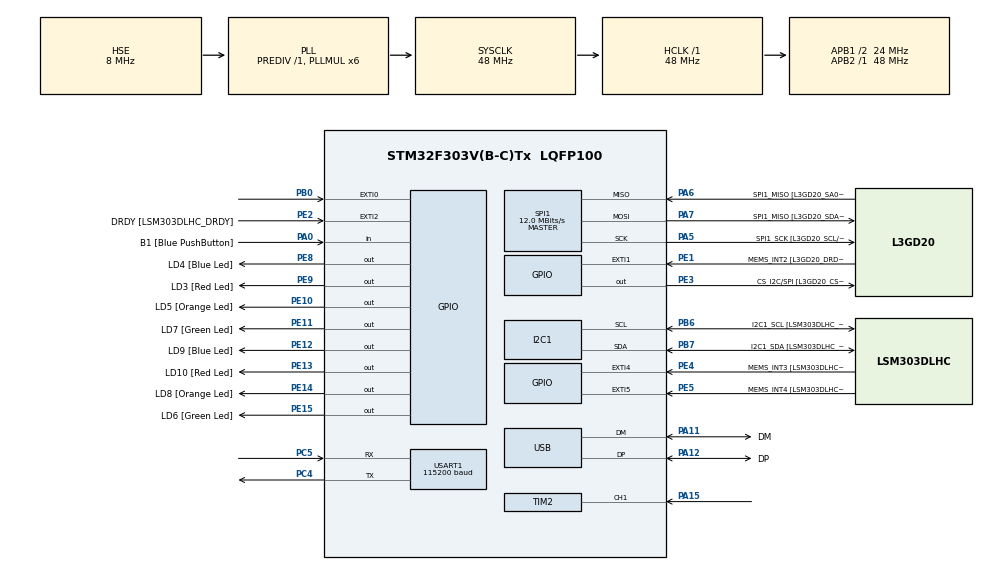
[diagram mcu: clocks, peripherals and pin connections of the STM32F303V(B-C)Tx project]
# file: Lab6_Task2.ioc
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I2C1.Timing=0x2000090E
I2C1.Timing-I2C=0x2000090E
Mcu.Family=STM32F3
Mcu.Name=STM32F303V(B-C)Tx
Mcu.Package=LQFP100
NVIC.PriorityGroup=NVIC_PRIORITYGROUP_0
NVIC.TIM2_IRQn=true\:0\:0\:false\:false\:true\:true\:true\:true
NVIC.USB_LP_CAN_RX0_IRQn=true\:0\:0\:false\:false\:true\:false\:true\:true
PA0.GPIO_Label=B1 [Blue PushButton]
PA0.Signal=GPIO_Input
PA11.GPIO_Label=DM
PA11.Mode=Device
PA11.Signal=USB_DM
PA12.GPIO_Label=DP
PA12.Mode=Device
PA12.Signal=USB_DP
PA13.GPIO_Label=SWDIO
PA13.Mode=Serial_Wire
PA13.Signal=SYS_JTMS-SWDIO
PA14.GPIO_Label=SWCLK
PA14.Mode=Serial_Wire
PA14.Signal=SYS_JTCK-SWCLK
PA15.Signal=S_TIM2_CH1_ETR
PA5.GPIO_Label=SPI1_SCK [L3GD20_SCL/SPC]
PA5.Mode=Full_Duplex_Master
PA5.Signal=SPI1_SCK
PA6.GPIO_Label=SPI1_MISO [L3GD20_SA0/SDO]
PA6.Mode=Full_Duplex_Master
PA6.Signal=SPI1_MISO
PA7.GPIO_Label=SPI1_MISO [L3GD20_SDA/SDI/SDO]
PA7.Mode=Full_Duplex_Master
PA7.Signal=SPI1_MOSI
PB0.Signal=GPXTI0
PB3.GPIO_Label=SWO
PB3.Signal=SYS_JTDO-TRACESWO
PB6.GPIO_Label=I2C1_SCL [LSM303DLHC_SCL]
PB6.GPIO_Pu=GPIO_PULLUP
PB6.Mode=I2C
PB6.Signal=I2C1_SCL
PB7.GPIO_Label=I2C1_SDA [LSM303DLHC_SDA]
PB7.GPIO_Pu=GPIO_PULLUP
PB7.Mode=I2C
PB7.Signal=I2C1_SDA
PC14-OSC32_IN.GPIO_Label=OSC32_IN
PC14-OSC32_IN.Signal=RCC_OSC32_IN
PC15-OSC32_OUT.GPIO_Label=OSC32_OUT
PC15-OSC32_OUT.Signal=RCC_OSC32_OUT
PC4.Mode=Asynchronous
PC4.Signal=USART1_TX
PC5.Mode=Asynchronous
PC5.Signal=USART1_RX
PE1.GPIO_Label=MEMS_INT2 [L3GD20_DRDY/INT2]
PE1.GPIO_ModeDefaultEXTI=GPIO_MODE_EVT_RISING
PE1.Signal=GPXTI1
PE10.GPIO_Label=LD5 [Orange Led]
PE10.Signal=GPIO_Output
PE11.GPIO_Label=LD7 [Green Led]
PE11.Signal=GPIO_Output
PE12.GPIO_Label=LD9 [Blue Led]
PE12.Signal=GPIO_Output
PE13.GPIO_Label=LD10 [Red Led]
PE13.Signal=GPIO_Output
PE14.GPIO_Label=LD8 [Orange Led]
PE14.Signal=GPIO_Output
PE15.GPIO_Label=LD6 [Green Led]
PE15.Signal=GPIO_Output
PE2.GPIO_Label=DRDY [LSM303DLHC_DRDY]
PE2.GPIO_ModeDefaultEXTI=GPIO_MODE_EVT_RISING
PE2.Signal=GPXTI2
PE3.GPIO_Label=CS_I2C/SPI [L3GD20_CS_I2C/SPI]
PE3.Signal=GPIO_Output
PE4.GPIO_Label=MEMS_INT3 [LSM303DLHC_INT1]
PE4.GPIO_ModeDefaultEXTI=GPIO_MODE_EVT_RISING
PE4.Signal=GPXTI4
PE5.GPIO_Label=MEMS_INT4 [LSM303DLHC_INT2]
PE5.GPIO_ModeDefaultEXTI=GPIO_MODE_EVT_RISING
PE5.Signal=GPXTI5
PE8.GPIO_Label=LD4 [Blue Led]
PE8.Signal=GPIO_Output
PE9.GPIO_Label=LD3 [Red Led]
PE9.Signal=GPIO_Output
PF0-OSC_IN.GPIO_Label=OSC_IN
PF0-OSC_IN.Mode=HSE-External-Clock-Source
PF0-OSC_IN.Signal=RCC_OSC_IN
PF1-OSC_OUT.GPIO_Label=OSC_OUT
PF1-OSC_OUT.Signal=RCC_OSC_OUT
ProjectManager.HeapSize=0x200
ProjectManager.StackSize=0x400
ProjectManager.TargetToolchain=CMake
RCC.AHBFreq_Value=48000000
RCC.APB1CLKDivider=RCC_HCLK_DIV2
RCC.APB1Freq_Value=24000000
RCC.APB1TimFreq_Value=48000000
RCC.APB2Freq_Value=48000000
RCC.APB2TimFreq_Value=48000000
RCC.CortexFreq_Value=48000000
RCC.HCLKFreq_Value=48000000
RCC.HSE_VALUE=8000000
RCC.HSI_VALUE=8000000
RCC.LSE_VALUE=32768
RCC.PLLMUL=RCC_PLL_MUL6
RCC.SYSCLKFreq_VALUE=48000000
RCC.SYSCLKSourceVirtual=RCC_SYSCLKSOURCE_PLLCLK
RCC.USBFreq_Value=48000000
SH.S_TIM2_CH1_ETR.0=TIM2_CH1,Input_Capture1_from_TI1
SPI1.BaudRatePrescaler=SPI_BAUDRATEPRESCALER_4
SPI1.BaudRatePrescaler-Full_Duplex_Master=SPI_BAUDRATEPRESCALER_2
SPI1.CalculateBaudRate=12.0 MBits/s
SPI1.CalculateBaudRate-Full_Duplex_Master=24.0 MBits/s
SPI1.Direction=SPI_DIRECTION_2LINES
SPI1.Mode=SPI_MODE_MASTER
SPI1.Mode-Full_Duplex_Master=SPI_MODE_MASTER
SPI1.VirtualType=VM_MASTER
TIM2.Channel-Input_Capture1_from_TI1=TIM_CHANNEL_1
TIM2.Prescaler=71
USART1.BaudRate=115200
USART1.VirtualMode-Asynchronous=VM_ASYNC
USB_DEVICE.CLASS_NAME_FS=CDC
USB_DEVICE.VirtualMode=Cdc
USB_DEVICE.VirtualModeFS=Cdc_FS
VP_TIM2_VS_ClockSourceINT.Mode=Internal
VP_USB_DEVICE_VS_USB_DEVICE_CDC_FS.Mode=CDC_FS
board=STM32F3DISCOVERY

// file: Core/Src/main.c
/* USER CODE BEGIN Header */
/**
  ******************************************************************************
  * @file           : main.c
  * @brief          : Main program body
  ******************************************************************************
  * @attention
  *
  * Copyright (c) 2026 STMicroelectronics.
  * All rights reserved.
  *
  * This software is licensed under terms that can be found in the LICENSE file
  * in the root directory of this software component.
  * If no LICENSE file comes with this software, it is provided AS-IS.
  *
  ******************************************************************************
  */
/* USER CODE END Header */
#include "main.h"
#include "usb_device.h"

I2C_HandleTypeDef hi2c1;

SPI_HandleTypeDef hspi1;

TIM_HandleTypeDef htim2;

UART_HandleTypeDef huart1;

void SystemClock_Config(void);
static void MX_GPIO_Init(void);
static void MX_I2C1_Init(void);
static void MX_SPI1_Init(void);
static void MX_TIM2_Init(void);
static void MX_USART1_UART_Init(void);

/* USER CODE BEGIN 0 */
uint32_t IC_Val1 = 0;
uint32_t IC_Val2 = 0;
uint32_t Difference = 0;
uint8_t Is_First_Captured = 0;

uint32_t Frequency = 0;

void HAL_TIM_IC_CaptureCallback(TIM_HandleTypeDef *htim)
{
   if (htim->Channel == HAL_TIM_ACTIVE_CHANNEL_1)
   {
       if (Is_First_Captured == 0)
       {
           IC_Val1 = HAL_TIM_ReadCapturedValue(htim, TIM_CHANNEL_1);
           Is_First_Captured = 1;
       }
       else
       {
           IC_Val2 = HAL_TIM_ReadCapturedValue(htim, TIM_CHANNEL_1);

           if (IC_Val2 > IC_Val1)
           {
               Difference = IC_Val2 - IC_Val1;
           }
           else if (IC_Val1 > IC_Val2)
           {
             Difference = (0xFFFFFFFF - IC_Val1) + IC_Val2 + 1;
           }

           uint32_t timer_clock = 48000000;

           if (Difference != 0) {
             Frequency = timer_clock / (2 * Difference);
           }

           Is_First_Captured = 0;
       }
   }
}

/* USER CODE END 0 */

int main(void)
{

 /* USER CODE BEGIN 1 */
 char msg[100];
  HAL_TIM_IC_Start_IT(&htim2, TIM_CHANNEL_1);

 /* USER CODE END 1 */

 /* MCU Configuration--------------------------------------------------------*/

 /* Reset of all peripherals, Initializes the Flash interface and the Systick. */
 HAL_Init();

 /* Configure the system clock */
 SystemClock_Config();

 /* Initialize all configured peripherals */
 MX_GPIO_Init();
 MX_I2C1_Init();
 MX_SPI1_Init();
 MX_TIM2_Init();
 MX_USART1_UART_Init();
 MX_USB_DEVICE_Init();
 /* USER CODE BEGIN 2 */
  HAL_TIM_IC_Start_IT(&htim2, TIM_CHANNEL_1);

 /* USER CODE END 2 */

 /* Infinite loop */
 while (1)
 {
   int len = sprintf(msg, "Signal Frequency: %lu Hz\r\n", Frequency);

   // Transmit to the serial terminal
   HAL_UART_Transmit(&huart1, (uint8_t*)msg, len, HAL_MAX_DELAY);

   // Update terminal every 500ms
   HAL_Delay(500);
 }
}

void SystemClock_Config(void)
{
  RCC_OscInitTypeDef RCC_OscInitStruct = {0};
  RCC_ClkInitTypeDef RCC_ClkInitStruct = {0};
  RCC_PeriphCLKInitTypeDef PeriphClkInit = {0};

  /** Initializes the RCC Oscillators according to the specified parameters
  * in the RCC_OscInitTypeDef structure.
  */
  RCC_OscInitStruct.OscillatorType = RCC_OSCILLATORTYPE_HSI|RCC_OSCILLATORTYPE_HSE;
  RCC_OscInitStruct.HSEState = RCC_HSE_BYPASS;
  RCC_OscInitStruct.HSEPredivValue = RCC_HSE_PREDIV_DIV1;
  RCC_OscInitStruct.HSIState = RCC_HSI_ON;
  RCC_OscInitStruct.HSICalibrationValue = RCC_HSICALIBRATION_DEFAULT;
  RCC_OscInitStruct.PLL.PLLState = RCC_PLL_ON;
  RCC_OscInitStruct.PLL.PLLSource = RCC_PLLSOURCE_HSE;
  RCC_OscInitStruct.PLL.PLLMUL = RCC_PLL_MUL6;
  if (HAL_RCC_OscConfig(&RCC_OscInitStruct) != HAL_OK)
  {
    Error_Handler();
  }

  /** Initializes the CPU, AHB and APB buses clocks
  */
  RCC_ClkInitStruct.ClockType = RCC_CLOCKTYPE_HCLK|RCC_CLOCKTYPE_SYSCLK
                              |RCC_CLOCKTYPE_PCLK1|RCC_CLOCKTYPE_PCLK2;
  RCC_ClkInitStruct.SYSCLKSource = RCC_SYSCLKSOURCE_PLLCLK;
  RCC_ClkInitStruct.AHBCLKDivider = RCC_SYSCLK_DIV1;
  RCC_ClkInitStruct.APB1CLKDivider = RCC_HCLK_DIV2;
  RCC_ClkInitStruct.APB2CLKDivider = RCC_HCLK_DIV1;

  if (HAL_RCC_ClockConfig(&RCC_ClkInitStruct, FLASH_LATENCY_1) != HAL_OK)
  {
    Error_Handler();
  }
  PeriphClkInit.PeriphClockSelection = RCC_PERIPHCLK_USB|RCC_PERIPHCLK_USART1
                              |RCC_PERIPHCLK_I2C1;
  PeriphClkInit.Usart1ClockSelection = RCC_USART1CLKSOURCE_PCLK2;
  PeriphClkInit.I2c1ClockSelection = RCC_I2C1CLKSOURCE_HSI;
  PeriphClkInit.USBClockSelection = RCC_USBCLKSOURCE_PLL;
  if (HAL_RCCEx_PeriphCLKConfig(&PeriphClkInit) != HAL_OK)
  {
    Error_Handler();
  }
}

static void MX_I2C1_Init(void)
{

  hi2c1.Instance = I2C1;
  hi2c1.Init.Timing = 0x2000090E;
  hi2c1.Init.OwnAddress1 = 0;
  hi2c1.Init.AddressingMode = I2C_ADDRESSINGMODE_7BIT;
  hi2c1.Init.DualAddressMode = I2C_DUALADDRESS_DISABLE;
  hi2c1.Init.OwnAddress2 = 0;
  hi2c1.Init.OwnAddress2Masks = I2C_OA2_NOMASK;
  hi2c1.Init.GeneralCallMode = I2C_GENERALCALL_DISABLE;
  hi2c1.Init.NoStretchMode = I2C_NOSTRETCH_DISABLE;
  if (HAL_I2C_Init(&hi2c1) != HAL_OK)
  {
    Error_Handler();
  }

  /** Configure Analogue filter
  */
  if (HAL_I2CEx_ConfigAnalogFilter(&hi2c1, I2C_ANALOGFILTER_ENABLE) != HAL_OK)
  {
    Error_Handler();
  }

  /** Configure Digital filter
  */
  if (HAL_I2CEx_ConfigDigitalFilter(&hi2c1, 0) != HAL_OK)
  {
    Error_Handler();
  }

}

static void MX_SPI1_Init(void)
{

  /* SPI1 parameter configuration*/
  hspi1.Instance = SPI1;
  hspi1.Init.Mode = SPI_MODE_MASTER;
  hspi1.Init.Direction = SPI_DIRECTION_2LINES;
  hspi1.Init.DataSize = SPI_DATASIZE_4BIT;
  hspi1.Init.CLKPolarity = SPI_POLARITY_LOW;
  hspi1.Init.CLKPhase = SPI_PHASE_1EDGE;
  hspi1.Init.NSS = SPI_NSS_SOFT;
  hspi1.Init.BaudRatePrescaler = SPI_BAUDRATEPRESCALER_4;
  hspi1.Init.FirstBit = SPI_FIRSTBIT_MSB;
  hspi1.Init.TIMode = SPI_TIMODE_DISABLE;
  hspi1.Init.CRCCalculation = SPI_CRCCALCULATION_DISABLE;
  hspi1.Init.CRCPolynomial = 7;
  hspi1.Init.CRCLength = SPI_CRC_LENGTH_DATASIZE;
  hspi1.Init.NSSPMode = SPI_NSS_PULSE_ENABLE;
  if (HAL_SPI_Init(&hspi1) != HAL_OK)
  {
    Error_Handler();
  }

}

static void MX_TIM2_Init(void)
{

  TIM_ClockConfigTypeDef sClockSourceConfig = {0};
  TIM_MasterConfigTypeDef sMasterConfig = {0};
  TIM_IC_InitTypeDef sConfigIC = {0};

  htim2.Instance = TIM2;
  htim2.Init.Prescaler = 71;
  htim2.Init.CounterMode = TIM_COUNTERMODE_UP;
  htim2.Init.Period = 4294967295;
  htim2.Init.ClockDivision = TIM_CLOCKDIVISION_DIV1;
  htim2.Init.AutoReloadPreload = TIM_AUTORELOAD_PRELOAD_DISABLE;
  if (HAL_TIM_Base_Init(&htim2) != HAL_OK)
  {
    Error_Handler();
  }
  sClockSourceConfig.ClockSource = TIM_CLOCKSOURCE_INTERNAL;
  if (HAL_TIM_ConfigClockSource(&htim2, &sClockSourceConfig) != HAL_OK)
  {
    Error_Handler();
  }
  if (HAL_TIM_IC_Init(&htim2) != HAL_OK)
  {
    Error_Handler();
  }
  sMasterConfig.MasterOutputTrigger = TIM_TRGO_RESET;
  sMasterConfig.MasterSlaveMode = TIM_MASTERSLAVEMODE_DISABLE;
  if (HAL_TIMEx_MasterConfigSynchronization(&htim2, &sMasterConfig) != HAL_OK)
  {
    Error_Handler();
  }
  sConfigIC.ICPolarity = TIM_INPUTCHANNELPOLARITY_RISING;
  sConfigIC.ICSelection = TIM_ICSELECTION_DIRECTTI;
  sConfigIC.ICPrescaler = TIM_ICPSC_DIV1;
  sConfigIC.ICFilter = 0;
  if (HAL_TIM_IC_ConfigChannel(&htim2, &sConfigIC, TIM_CHANNEL_1) != HAL_OK)
  {
    Error_Handler();
  }

}

static void MX_USART1_UART_Init(void)
{

  huart1.Instance = USART1;
  huart1.Init.BaudRate = 115200;
  huart1.Init.WordLength = UART_WORDLENGTH_8B;
  huart1.Init.StopBits = UART_STOPBITS_1;
  huart1.Init.Parity = UART_PARITY_NONE;
  huart1.Init.Mode = UART_MODE_TX_RX;
  huart1.Init.HwFlowCtl = UART_HWCONTROL_NONE;
  huart1.Init.OverSampling = UART_OVERSAMPLING_16;
  huart1.Init.OneBitSampling = UART_ONE_BIT_SAMPLE_DISABLE;
  huart1.AdvancedInit.AdvFeatureInit = UART_ADVFEATURE_NO_INIT;
  if (HAL_UART_Init(&huart1) != HAL_OK)
  {
    Error_Handler();
  }

}

static void MX_GPIO_Init(void)
{
  GPIO_InitTypeDef GPIO_InitStruct = {0};

  /* GPIO Ports Clock Enable */
  __HAL_RCC_GPIOE_CLK_ENABLE();
  __HAL_RCC_GPIOC_CLK_ENABLE();
  __HAL_RCC_GPIOF_CLK_ENABLE();
  __HAL_RCC_GPIOA_CLK_ENABLE();
  __HAL_RCC_GPIOB_CLK_ENABLE();

  /*Configure GPIO pin Output Level */
  HAL_GPIO_WritePin(GPIOE, CS_I2C_SPI_Pin|LD4_Pin|LD3_Pin|LD5_Pin
                          |LD7_Pin|LD9_Pin|LD10_Pin|LD8_Pin
                          |LD6_Pin, GPIO_PIN_RESET);

  /*Configure GPIO pins : DRDY_Pin MEMS_INT3_Pin MEMS_INT4_Pin MEMS_INT2_Pin */
  GPIO_InitStruct.Pin = DRDY_Pin|MEMS_INT3_Pin|MEMS_INT4_Pin|MEMS_INT2_Pin;
  GPIO_InitStruct.Mode = GPIO_MODE_EVT_RISING;
  GPIO_InitStruct.Pull = GPIO_NOPULL;
  HAL_GPIO_Init(GPIOE, &GPIO_InitStruct);

  /*Configure GPIO pins : CS_I2C_SPI_Pin LD4_Pin LD3_Pin LD5_Pin
                           LD7_Pin LD9_Pin LD10_Pin LD8_Pin
                           LD6_Pin */
  GPIO_InitStruct.Pin = CS_I2C_SPI_Pin|LD4_Pin|LD3_Pin|LD5_Pin
                          |LD7_Pin|LD9_Pin|LD10_Pin|LD8_Pin
                          |LD6_Pin;
  GPIO_InitStruct.Mode = GPIO_MODE_OUTPUT_PP;
  GPIO_InitStruct.Pull = GPIO_NOPULL;
  GPIO_InitStruct.Speed = GPIO_SPEED_FREQ_LOW;
  HAL_GPIO_Init(GPIOE, &GPIO_InitStruct);

  /*Configure GPIO pin : B1_Pin */
  GPIO_InitStruct.Pin = B1_Pin;
  GPIO_InitStruct.Mode = GPIO_MODE_INPUT;
  GPIO_InitStruct.Pull = GPIO_NOPULL;
  HAL_GPIO_Init(B1_GPIO_Port, &GPIO_InitStruct);

  /*Configure GPIO pin : PB0 */
  GPIO_InitStruct.Pin = GPIO_PIN_0;
  GPIO_InitStruct.Mode = GPIO_MODE_IT_RISING;
  GPIO_InitStruct.Pull = GPIO_NOPULL;
  HAL_GPIO_Init(GPIOB, &GPIO_InitStruct);

}

void Error_Handler(void)
{
  __disable_irq();
  while (1)
  {
  }
}
